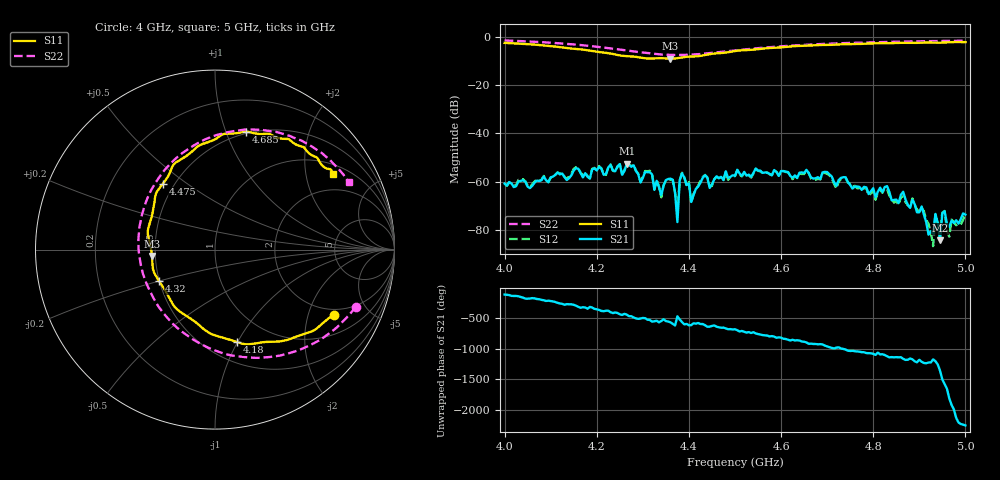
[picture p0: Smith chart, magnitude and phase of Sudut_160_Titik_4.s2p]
# Hz S RI R 50
! CMT, C1220, 16058040, 17.2.0/1
! Date: 15/08/2018 12:29:50
! Data: Format (Calibration Info)
! Freq  S11: Re/Im (F2)  S21: Re/Im (F2)  S12: Re/Im (F2)  S22: Re/Im (F2)
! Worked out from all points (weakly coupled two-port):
!   201 points, 4 GHz to 5 GHz, reference 50 ohm
!   highest |S21| = -52.57 dB at 4.265 GHz (marker M1); lowest = -84.3 dB at 4.945 GHz (marker M2)
!   lowest |S11| = -9.1 dB at 4.36 GHz (marker M3), VSWR 2.09, Z = 24 - j1.97 ohm
!   |S11| at or under -10 dB: nowhere
!   |S22| runs from -7.5 to -1.5 dB; largest |S21 - S12| = 0.00015
!   S11 on the Smith chart (normalised r, x): 4 GHz: 1.75, -2.94; 4.18 GHz: 0.70, -0.99; 4.32 GHz: 0.50, -0.20; 4.475 GHz: 0.43, +0.41; 4.685 GHz: 0.48, +1.18; 5 GHz: 1.31, +2.84
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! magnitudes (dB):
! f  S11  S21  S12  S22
! 4 GHz  -2.5  -60.8  -60.7  -1.5
! 4.17 GHz  -5.3  -58.2  -57.5  -3.5
! 4.18 GHz  -5.5  -58.0  -57.6  -3.6
! 4.265 GHz  -8.0  -52.6  -52.5  -5.6
! 4.32 GHz  -8.9  -57.0  -56.8  -6.9
! 4.335 GHz  -8.8  -62.3  -61.9  -7.2
! 4.36 GHz  -9.1  -58.7  -59.1  -7.5
! 4.37 GHz  -8.9  -64.6  -64.9  -7.5
! 4.375 GHz  -8.8  -76.7  -71.4  -7.5
! 4.38 GHz  -8.6  -59.4  -59.5  -7.5
! 4.385 GHz  -8.5  -56.5  -56.3  -7.5
! 4.405 GHz  -8.2  -68.4  -68.8  -7.3
! 4.435 GHz  -7.5  -57.3  -57.2  -6.9
! 4.475 GHz  -6.6  -59.3  -59.4  -6.1
! 4.5 GHz  -5.9  -57.5  -57.7  -5.6
! 4.67 GHz  -3.5  -58.7  -59.2  -3.1
! 4.685 GHz  -3.3  -58.9  -59.1  -3.0
! 4.835 GHz  -2.6  -64.2  -65.8  -2.0
! 4.945 GHz  -2.4  -84.3  -79.8  -1.7
! 4.955 GHz  -2.3  -72.3  -72.2  -1.7
! 4.96 GHz  -2.3  -77.6  -80.4  -1.6
! 5 GHz  -2.2  -73.7  -72.9  -1.6
